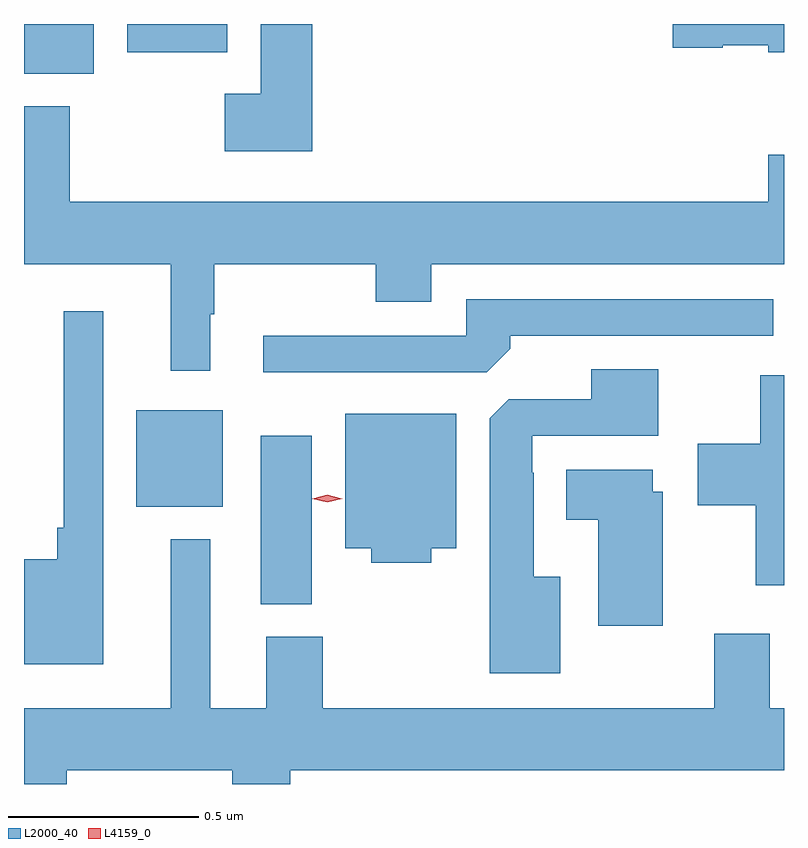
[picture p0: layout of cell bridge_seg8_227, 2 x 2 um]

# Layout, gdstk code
import gdstk
lib = gdstk.Library(unit=1e-6, precision=1e-09)
def R(c, l, rs):  # rectangles x0, y0, x1, y1
    for r in rs: c.add(gdstk.rectangle(r[:2], r[2:], *l))
def P(c, l, *ps):  # polygons
    for p in ps: c.add(gdstk.Polygon(p, *l))
L2000_40 = (2000, 40)
L4159_0 = (4159, 0)

bridge_seg8_227 = lib.new_cell('bridge_seg8_227')
R(bridge_seg8_227, L2000_40, [(126.068,1106.281,126.202,1106.725), (125.741,1106.537,125.968,1106.791), (125.445,1107.677,125.629,1107.808), (125.717,1107.734,125.98,1107.808)])
P(bridge_seg8_227, L2000_40, [(126.203,1107.808),(126.068,1107.808),(126.068,1107.625),(125.973,1107.625),(125.973,1107.473),(126.203,1107.473)],
  [(127.445,1107.808),(127.152,1107.808),(127.152,1107.745),(127.284,1107.745),(127.284,1107.752),(127.404,1107.752),(127.404,1107.734),(127.445,1107.734)],
  [(125.935,1107.044),(125.945,1107.044),(125.945,1107.176),(126.37,1107.176),(126.37,1107.077),(126.517,1107.077),(126.517,1107.176),(127.445,1107.176),(127.445,1107.464),(127.403,1107.464),(127.403,1107.34),(125.565,1107.34),(125.565,1107.592),(125.445,1107.592),(125.445,1107.176),(125.831,1107.176),(125.831,1106.895),(125.935,1106.895)],
  [(126.725,1106.954),(126.725,1106.988),(127.417,1106.988),(127.417,1107.084),(126.609,1107.084),(126.609,1106.988),(126.075,1106.988),(126.075,1106.892),(126.663,1106.892)],
  [(125.653,1107.052),(125.549,1107.052),(125.549,1106.482),(125.532,1106.482),(125.532,1106.399),(125.445,1106.399),(125.445,1106.123),(125.653,1106.123)],
  [(126.856,1106.353),(126.787,1106.353),(126.787,1106.627),(126.783,1106.627),(126.783,1106.724),(127.114,1106.724),(127.114,1106.899),(126.938,1106.899),(126.938,1106.82),(126.72,1106.82),(126.671,1106.771),(126.671,1106.099),(126.856,1106.099)],
  [(127.445,1106.884),(127.382,1106.884),(127.382,1106.704),(127.218,1106.704),(127.218,1106.542),(127.37,1106.542),(127.37,1106.331),(127.445,1106.331)],
  [(126.517,1106.429),(126.583,1106.429),(126.583,1106.782),(126.29,1106.782),(126.29,1106.429),(126.359,1106.429),(126.359,1106.39),(126.517,1106.39)],
  [(127.126,1106.577),(127.099,1106.577),(127.099,1106.635),(126.872,1106.635),(126.872,1106.504),(126.956,1106.504),(126.956,1106.225),(127.126,1106.225)],
  [(125.557,1105.844),(125.993,1105.844),(125.993,1105.808),(126.146,1105.808),(126.146,1105.844),(127.445,1105.844),(127.445,1106.008),(127.408,1106.008),(127.408,1106.203),(127.261,1106.203),(127.261,1106.008),(126.231,1106.008),(126.231,1106.196),(126.083,1106.196),(126.083,1106.008),(125.935,1106.008),(125.935,1106.452),(125.831,1106.452),(125.831,1106.008),(125.445,1106.008),(125.445,1105.808),(125.557,1105.808)])
P(bridge_seg8_227, L4159_0, [(126.243,1106.549),(126.204,1106.559),(126.203,1106.559),(126.204,1106.559),(126.243,1106.569),(126.283,1106.559),(126.283,1106.559),(126.283,1106.559)])

lib.write_gds('bridge_seg8_227.gds')
